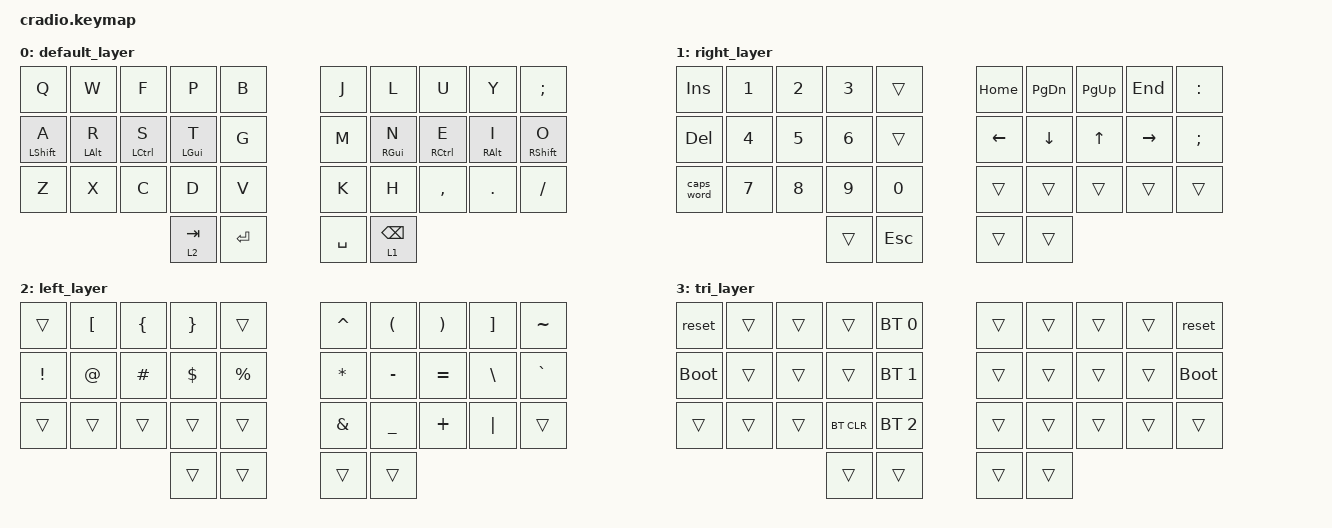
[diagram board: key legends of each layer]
// Copyright (c) 2022 The ZMK Contributors
// SPDX-License-Identifier: MIT

#include <behaviors.dtsi>
#include <dt-bindings/zmk/keys.h>
#include <dt-bindings/zmk/bt.h>

/ {
    behaviors {
        ht: hold_tap {
            label = "hold_tap";
            compatible = "zmk,behavior-hold-tap";
            #binding-cells = <2>;
            flavor = "tap-preferred";
            tapping-term-ms = <220>;
            quick-tap-ms = <150>;
            global-quick-tap;
            bindings =
                <&kp>,
                <&kp>;
        };
    };

    conditional_layers {
        compatible = "zmk,conditional-layers";

        tri_layer {
            if-layers = <1 2>;
            then-layer = <3>;
        };
    };

    keymap {
        compatible = "zmk,keymap";

        default_layer {
            bindings = <
       &kp Q       &kp W        &kp F       &kp P      &kp B      &kp J       &kp L        &kp U       &kp Y     &kp SEMI
 &ht LSHFT A  &ht LALT R  &ht LCTRL S  &ht LGUI T      &kp G      &kp M  &ht RGUI N  &ht RCTRL E  &ht RALT I  &ht RSHFT O
       &kp Z       &kp X        &kp C       &kp D      &kp V      &kp K       &kp H    &kp COMMA     &kp DOT     &kp FSLH
                                        &lt 2 TAB  &kp ENTER  &kp SPACE  &lt 1 BSPC
            >;
        };

        right_layer {
            bindings = <
    &kp INS  &kp N1  &kp N2  &kp N3   &trans  &kp HOME  &kp PG_DN  &kp PG_UP    &kp END  &kp COLON
    &kp DEL  &kp N4  &kp N5  &kp N6   &trans  &kp LEFT   &kp DOWN     &kp UP  &kp RIGHT   &kp SEMI
 &caps_word  &kp N7  &kp N8  &kp N9   &kp N0    &trans     &trans     &trans     &trans     &trans
                             &trans  &kp ESC    &trans     &trans
            >;
        };

        left_layer {
            bindings = <
   &trans  &kp LBKT  &kp LBRC  &kp RBRC     &trans  &kp CARET   &kp LPAR   &kp RPAR  &kp RBKT  &kp TILDE
 &kp EXCL    &kp AT  &kp HASH  &kp DLLR  &kp PRCNT  &kp ASTRK  &kp MINUS  &kp EQUAL  &kp BSLH  &kp GRAVE
   &trans    &trans    &trans    &trans     &trans   &kp AMPS  &kp UNDER   &kp PLUS  &kp PIPE     &trans
                                 &trans     &trans     &trans     &trans
            >;
        };

        tri_layer {
            bindings = <
      &reset  &trans  &trans      &trans  &bt BT_SEL 0  &trans  &trans  &trans  &trans       &reset
 &bootloader  &trans  &trans      &trans  &bt BT_SEL 1  &trans  &trans  &trans  &trans  &bootloader
      &trans  &trans  &trans  &bt BT_CLR  &bt BT_SEL 2  &trans  &trans  &trans  &trans       &trans
                                  &trans        &trans  &trans  &trans
            >;
        };
    };
};
